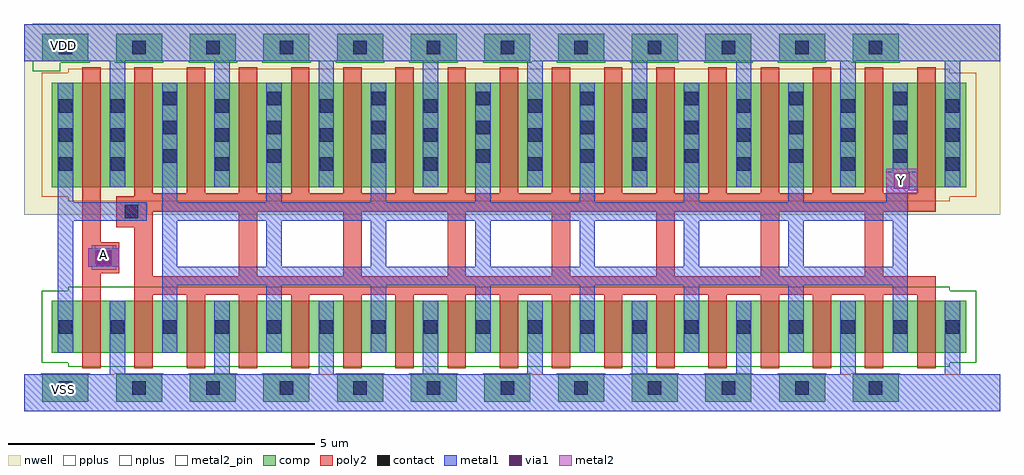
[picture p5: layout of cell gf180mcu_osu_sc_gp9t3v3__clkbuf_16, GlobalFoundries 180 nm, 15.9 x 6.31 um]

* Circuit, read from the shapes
.subckt gf180mcu_osu_sc_gp9t3v3__clkbuf_16 A VDD VSS Y
XM1 VSS A n1 VSS nfet_03v3 w=0.85u l=0.3u
XM2 Y n1 VSS VSS nfet_03v3 w=0.85u l=0.3u m=16
XM3 VDD A n1 VDD pfet_03v3 w=1.7u l=0.3u
XM4 Y n1 VDD VDD pfet_03v3 w=1.7u l=0.3u m=16
.ends

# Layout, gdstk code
import gdstk
lib = gdstk.Library(unit=1e-6, precision=1e-09)
def R(c, l, rs):  # rectangles x0, y0, x1, y1
    for r in rs: c.add(gdstk.rectangle(r[:2], r[2:], *l))
def A(c, l, x, y, w, h, nx, ny, dx, dy):  # array of equal rectangles
    R(c, l, [(x+i*dx, y+j*dy, x+i*dx+w, y+j*dy+h) for i in range(nx) for j in range(ny)])
nwell = (21, 0)
comp = (22, 0)
poly2 = (30, 0)
pplus = (31, 0)
nplus = (32, 0)
contact = (33, 0)
metal1 = (34, 0)
via1 = (35, 0)
metal2 = (36, 0)
metal2_pin = (36, 10)

gf180mcu_osu_sc_gp9t3v3_ = lib.new_cell('gf180mcu_osu_sc_gp9t3v3__clkbuf_16')
R(gf180mcu_osu_sc_gp9t3v3_, nwell, [(0,3.2,15.9,6.3)])
A(gf180mcu_osu_sc_gp9t3v3_, comp, 0.3, 0.15, 0.75, 0.45, 12, 2, 1.2, 5.55)
R(gf180mcu_osu_sc_gp9t3v3_, comp, [(0.45,0.95,15.35,1.8), (0.45,3.65,15.35,5.35)])
A(gf180mcu_osu_sc_gp9t3v3_, poly2, 1.8, 0.7, 0.3, 1.2, 16, 1, 0.85, 0)
A(gf180mcu_osu_sc_gp9t3v3_, poly2, 3.5, 2.2, 0.3, 1.05, 7, 1, 1.7, 0)
A(gf180mcu_osu_sc_gp9t3v3_, poly2, 1.8, 3.55, 0.3, 2.05, 16, 1, 0.85, 0)
R(gf180mcu_osu_sc_gp9t3v3_, poly2, [(0.95,0.7,1.25,2.25), (1.8,1.9,14.85,2.2), (1.8,2.2,2.1,3), (0.95,2.25,1.55,2.75), (0.95,2.75,1.25,5.6), (1.5,3,2.1,3.25), (1.5,3.25,14.85,3.5), (1.8,3.5,14.85,3.55)])
A(gf180mcu_osu_sc_gp9t3v3_, pplus, 0.28, 0.13, 0.79, 0.49, 12, 1, 1.2, 0)
R(gf180mcu_osu_sc_gp9t3v3_, pplus, [(0,0,15.9,0.6), (0.72,3.42,15.08,3.49), (0.29,3.49,15.51,5.51), (0.72,5.51,15.08,5.58)])
A(gf180mcu_osu_sc_gp9t3v3_, nplus, 1.48, 5.68, 0.79, 0.02, 11, 1, 1.2, 0)
R(gf180mcu_osu_sc_gp9t3v3_, nplus, [(0.72,0.72,15.08,0.79), (0.29,0.79,15.51,1.96), (0.72,1.96,15.08,2.03), (0.14,5.54,0.59,5.68), (0.14,5.68,1.07,5.7), (0,5.7,15.9,6.3), (0,5.7,15.9,6.3), (0.14,6.3,14.41,6.31)])
A(gf180mcu_osu_sc_gp9t3v3_, contact, 0.565, 0.265, 0.22, 0.22, 12, 2, 1.2, 5.55)
A(gf180mcu_osu_sc_gp9t3v3_, contact, 0.565, 1.265, 0.22, 0.22, 18, 1, 0.85, 0)
A(gf180mcu_osu_sc_gp9t3v3_, contact, 0.565, 3.92, 0.22, 0.22, 1, 3, 0, 0.47)
A(gf180mcu_osu_sc_gp9t3v3_, contact, 1.415, 3.92, 0.22, 0.22, 9, 3, 1.7, 0.47)
A(gf180mcu_osu_sc_gp9t3v3_, contact, 2.265, 4.045, 0.22, 0.22, 8, 3, 1.7, 0.47)
R(gf180mcu_osu_sc_gp9t3v3_, contact, [(1.19,2.39,1.41,2.61), (1.64,3.14,1.86,3.36)])
A(gf180mcu_osu_sc_gp9t3v3_, metal1, 1.4, 0.6, 0.25, 1.2, 9, 1, 1.7, 0)
A(gf180mcu_osu_sc_gp9t3v3_, metal1, 2.25, 0.95, 0.25, 1.1, 8, 1, 1.7, 0)
A(gf180mcu_osu_sc_gp9t3v3_, metal1, 2.25, 2.35, 0.25, 0.75, 8, 1, 1.7, 0)
A(gf180mcu_osu_sc_gp9t3v3_, metal1, 0.55, 3.4, 0.25, 1.95, 8, 1, 1.7, 0)
A(gf180mcu_osu_sc_gp9t3v3_, metal1, 1.4, 3.65, 0.25, 2.05, 9, 1, 1.7, 0)
R(gf180mcu_osu_sc_gp9t3v3_, metal1, [(0,0,15.9,0.6), (0.55,0.95,0.8,3.1), (2.25,2.05,14.4,2.35), (1.05,2.35,1.55,2.65), (0.55,3.1,2,3.4), (2.25,3.1,14.4,3.4), (14.05,3.4,14.4,3.6), (14.05,3.6,14.55,3.9), (14.15,3.9,14.4,5.35), (0,5.7,15.9,6.3)])
R(gf180mcu_osu_sc_gp9t3v3_, via1, [(1.17,2.37,1.43,2.63), (14.17,3.62,14.43,3.88)])
R(gf180mcu_osu_sc_gp9t3v3_, metal2, [(1.1,2.3,1.5,2.35), (1.05,2.35,1.55,2.65), (1.1,2.65,1.5,2.7), (14.05,3.55,14.55,3.95)])
R(gf180mcu_osu_sc_gp9t3v3_, metal2_pin, [(1.15,2.4,1.45,2.7)])
gf180mcu_osu_sc_gp9t3v3_.add(gdstk.Label('VDD', (0.65,5.95), layer=22, texttype=0))
gf180mcu_osu_sc_gp9t3v3_.add(gdstk.Label('VSS', (0.65,0.35), layer=22, texttype=0))
gf180mcu_osu_sc_gp9t3v3_.add(gdstk.Label('Y', (14.3,3.75), layer=36, texttype=10))
gf180mcu_osu_sc_gp9t3v3_.add(gdstk.Label('A', (1.3,2.55), layer=36, texttype=10))

lib.write_gds('gf180mcu_osu_sc_gp9t3v3__clkbuf_16.gds')
